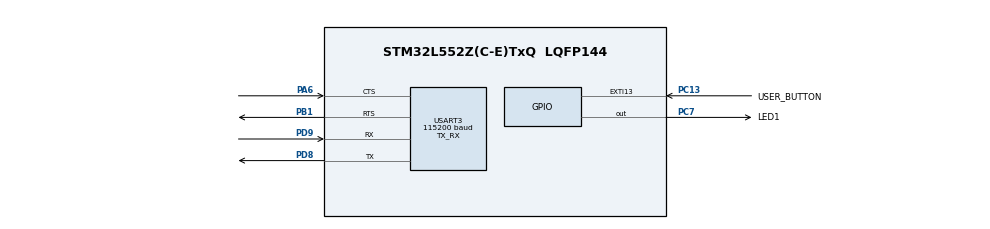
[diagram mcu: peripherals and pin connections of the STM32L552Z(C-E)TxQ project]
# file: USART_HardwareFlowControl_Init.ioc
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Mcu.Family=STM32L5
Mcu.Name=STM32L552Z(C-E)TxQ
Mcu.Package=LQFP144
Mcu.TrustZone=disable
NVIC.EXTI13_IRQn=true\:0\:0\:false\:false\:true\:true\:true\:true
NVIC.PriorityGroup=NVIC_PRIORITYGROUP_3
NVIC.USART3_IRQn=true\:0\:0\:false\:false\:true\:true\:true\:true
PA6.GPIO_PuPd=GPIO_PULLUP
PA6.GPIO_Speed=GPIO_SPEED_FREQ_HIGH
PA6.Mode=CTS_RTS
PA6.Signal=USART3_CTS
PB1.GPIO_PuPd=GPIO_PULLUP
PB1.GPIO_Speed=GPIO_SPEED_FREQ_HIGH
PB1.Mode=CTS_RTS
PB1.Signal=USART3_RTS
PC13.GPIO_Label=USER_BUTTON
PC13.GPIO_ModeDefaultEXTI=GPIO_MODE_IT_FALLING
PC13.Signal=GPXTI13
PC7.GPIO_Label=LED1
PC7.GPIO_PuPd=GPIO_NOPULL
PC7.Signal=GPIO_Output
PD8.GPIO_PuPd=GPIO_PULLUP
PD8.GPIO_Speed=GPIO_SPEED_FREQ_HIGH
PD8.Mode=Asynchronous
PD8.Signal=USART3_TX
PD9.GPIO_PuPd=GPIO_PULLUP
PD9.GPIO_Speed=GPIO_SPEED_FREQ_HIGH
PD9.Mode=Asynchronous
PD9.Signal=USART3_RX
ProjectManager.HeapSize=0x200
ProjectManager.StackSize=0x400
ProjectManager.TargetToolchain=EWARM V8.32
RCC.ADCCLockSelection=RCC_ADCCLKSOURCE_SYSCLK
RCC.ADCFreq_Value=110000000
RCC.AHBFreq_Value=110000000
RCC.APB1Freq_Value=110000000
RCC.APB1TimFreq_Value=110000000
RCC.APB2Freq_Value=110000000
RCC.APB2TimFreq_Value=110000000
RCC.CortexFreq_Value=110000000
RCC.HCLKFreq_Value=110000000
RCC.HSE_VALUE=16000000
RCC.HSI48_VALUE=48000000
RCC.HSI_VALUE=16000000
RCC.LSE_VALUE=32768
RCC.MSI_VALUE=4000000
RCC.PLLN=55
RCC.PLLSAI1N=24
RCC.RTCClockSelection=RCC_RTCCLKSOURCE_LSE
RCC.SYSCLKFreq_VALUE=110000000
RCC.SYSCLKSource=RCC_SYSCLKSOURCE_PLLCLK
RCC.USBFreq_Value=48000000
RCC.VCOOutputFreq_Value=220000000
USART3.AutoBaudRateEnableParam=UART_ADVFEATURE_AUTOBAUDRATE_DISABLE
USART3.BaudRate=115200
USART3.ClockPrescaler=PRESCALER_DIV1
USART3.DMADisableonRxErrorParam=ADVFEATURE_DMA_ENABLEONRXERROR
USART3.DataInvertParam=ADVFEATURE_DATAINV_DISABLE
USART3.FIFOMode=FIFOMODE_DISABLE
USART3.MSBFirstParam=ADVFEATURE_MSBFIRST_DISABLE
USART3.Mode=MODE_TX_RX
USART3.OneBitSampling=UART_ONE_BIT_SAMPLE_DISABLE
USART3.OverSampling=UART_OVERSAMPLING_16
USART3.OverrunDisableParam=ADVFEATURE_OVERRUN_ENABLE
USART3.Parity=PARITY_NONE
USART3.RXFIFOThreshold=RXFIFO_THRESHOLD_1EIGHTHFULL
USART3.RxPinLevelInvertParam=ADVFEATURE_RXINV_DISABLE
USART3.StopBits=STOPBITS_1
USART3.SwapParam=ADVFEATURE_SWAP_DISABLE
USART3.TXFIFOThreshold=TXFIFO_THRESHOLD_1EIGHTHFULL
USART3.TxPinLevelInvertParam=ADVFEATURE_TXINV_DISABLE
USART3.VirtualMode-Asynchronous=VM_ASYNC
USART3.WordLength=WORDLENGTH_8B
VP_ICACHE_VS_ICACHE.Mode=DirectMappedCache
VP_PWR_VS_DBSignals.Mode=DisableDeadBatterySignals
board=custom

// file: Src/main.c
/* USER CODE BEGIN Header */
/**
  ******************************************************************************
  * @file    Examples_LL/USART/USART_HardwareFlowControl_Init/Src/main.c
  * @author  MCD Application Team
  * @brief   This example describes how to transfer bytes from/to an USART peripheral
  *          to/from a PC UART with HW FLow Control enabled,
  *          through the STM32L5xx USART LL API.
  *          Peripheral initialization done using LL unitary services functions.
  ******************************************************************************
  * @attention
  *
  * Copyright (c) 2019 STMicroelectronics.
  * All rights reserved.
  *
  * This software is licensed under terms that can be found in the LICENSE file
  * in the root directory of this software component.
  * If no LICENSE file comes with this software, it is provided AS-IS.
  *
  ******************************************************************************
  */
/* USER CODE END Header */
#include "main.h"

/* USER CODE BEGIN Includes */
/** @addtogroup STM32L5xx_LL_Examples
  * @{
  */

/** @addtogroup USART_HardwareFlowControl_Init
  * @{
  */
/* USER CODE END Includes */

/* USER CODE BEGIN PV */
__IO uint8_t ubButtonPress = 0;

/**
  * @brief Variables used for character transmission to PC Com port
  */
__IO uint8_t ubSend = 0;
const uint8_t aStringToSend[] = "STM32L5xx USART LL API Example : TX/RX in IT mode\r\nConfiguration UART 115200 bps, 8 data bit/1 stop bit/No parity/HW flow control enabled.\r\nEnter any character (S or s will end program).\r\n";
uint8_t ubSizeToSend = sizeof(aStringToSend);

/**
  * @brief Variables used for character reception from PC Com port
  */
__IO uint8_t      ubFinalCharReceived = 0;
__IO uint32_t     ubReceivedChar;

/* USER CODE END PV */

void SystemClock_Config(void);
static void MX_GPIO_Init(void);
static void MX_ICACHE_Init(void);
static void MX_USART3_UART_Init(void);
/* USER CODE BEGIN PFP */
void     StartTransfers(void);
void     LED_On(void);
void     LED_Blinking(uint32_t Period);
void     LED_Off(void);
void     WaitForUserButtonPress(void);
void     WaitAndCheckEndOfTransfer(void);
/* USER CODE END PFP */

/* USER CODE BEGIN 0 */
/**
  * @brief  Main program
  * @param  None
  * @retval None
  */
/* USER CODE END 0 */

int main(void)
{

  /* MCU Configuration--------------------------------------------------------*/

  /* Reset of all peripherals, Initializes the Flash interface and the Systick. */
  LL_APB2_GRP1_EnableClock(LL_APB2_GRP1_PERIPH_SYSCFG);
  LL_APB1_GRP1_EnableClock(LL_APB1_GRP1_PERIPH_PWR);

  /* System interrupt init*/
  NVIC_SetPriorityGrouping(NVIC_PRIORITYGROUP_3);

  /** Disable the internal Pull-Up in Dead Battery pins of UCPD peripheral
  */
  LL_PWR_DisableUCPDDeadBattery();

  /* Configure the system clock */
  SystemClock_Config();

  /* Initialize all configured peripherals */
  MX_GPIO_Init();
  MX_ICACHE_Init();
  MX_USART3_UART_Init();
  /* USER CODE BEGIN 2 */
  /* Set LED1 Off */
  LED_Off();

  /* Wait for User push-button press to start transfer */
  WaitForUserButtonPress();

  /* Initiate DMA transfers */
  StartTransfers();

  /* Wait for the end of the transfer and check received data */
  WaitAndCheckEndOfTransfer();

  /* USER CODE END 2 */

  /* Infinite loop */
  while (1)
  {

  }
}

void SystemClock_Config(void)
{
  LL_FLASH_SetLatency(LL_FLASH_LATENCY_5);
  while(LL_FLASH_GetLatency()!= LL_FLASH_LATENCY_5)
  {
  }

  LL_PWR_SetRegulVoltageScaling(LL_PWR_REGU_VOLTAGE_SCALE0);
  LL_RCC_MSI_Enable();

   /* Wait till MSI is ready */
  while(LL_RCC_MSI_IsReady() != 1)
  {
  }

  LL_RCC_MSI_EnableRangeSelection();
  LL_RCC_MSI_SetRange(LL_RCC_MSIRANGE_6);
  LL_RCC_MSI_SetCalibTrimming(0);
  LL_RCC_PLL_ConfigDomain_SYS(LL_RCC_PLLSOURCE_MSI, LL_RCC_PLLM_DIV_1, 55, LL_RCC_PLLR_DIV_2);
  LL_RCC_PLL_EnableDomain_SYS();
  LL_RCC_PLL_Enable();

   /* Wait till PLL is ready */
  while(LL_RCC_PLL_IsReady() != 1)
  {
  }

   /* Intermediate AHB prescaler 2 when target frequency clock is higher than 80 MHz */
   LL_RCC_SetAHBPrescaler(LL_RCC_SYSCLK_DIV_2);

  LL_RCC_SetSysClkSource(LL_RCC_SYS_CLKSOURCE_PLL);

   /* Wait till System clock is ready */
  while(LL_RCC_GetSysClkSource() != LL_RCC_SYS_CLKSOURCE_STATUS_PLL)
  {
  }

  /* Insure 1us transition state at intermediate medium speed clock*/
  for (__IO uint32_t i = (RCC_MAX_FREQUENCY_MHZ >> 1); i !=0; i--);

  LL_RCC_SetAHBPrescaler(LL_RCC_SYSCLK_DIV_1);
  LL_RCC_SetAPB1Prescaler(LL_RCC_APB1_DIV_1);
  LL_RCC_SetAPB2Prescaler(LL_RCC_APB2_DIV_1);

  LL_Init1msTick(110000000);

  LL_SetSystemCoreClock(110000000);
}

static void MX_ICACHE_Init(void)
{

  /** Enable instruction cache in 1-way (direct mapped cache)
  */
  LL_ICACHE_SetMode(LL_ICACHE_1WAY);
  LL_ICACHE_Enable();

}

static void MX_USART3_UART_Init(void)
{

  LL_USART_InitTypeDef USART_InitStruct = {0};

  LL_GPIO_InitTypeDef GPIO_InitStruct = {0};

  LL_RCC_SetUSARTClockSource(LL_RCC_USART3_CLKSOURCE_PCLK1);

  /* Peripheral clock enable */
  LL_APB1_GRP1_EnableClock(LL_APB1_GRP1_PERIPH_USART3);

  LL_AHB2_GRP1_EnableClock(LL_AHB2_GRP1_PERIPH_GPIOA);
  LL_AHB2_GRP1_EnableClock(LL_AHB2_GRP1_PERIPH_GPIOB);
  LL_AHB2_GRP1_EnableClock(LL_AHB2_GRP1_PERIPH_GPIOD);
  /**USART3 GPIO Configuration
  PA6   ------> USART3_CTS
  PB1   ------> USART3_RTS
  PD8   ------> USART3_TX
  PD9   ------> USART3_RX
  */
  GPIO_InitStruct.Pin = LL_GPIO_PIN_6;
  GPIO_InitStruct.Mode = LL_GPIO_MODE_ALTERNATE;
  GPIO_InitStruct.Speed = LL_GPIO_SPEED_FREQ_HIGH;
  GPIO_InitStruct.OutputType = LL_GPIO_OUTPUT_PUSHPULL;
  GPIO_InitStruct.Pull = LL_GPIO_PULL_UP;
  GPIO_InitStruct.Alternate = LL_GPIO_AF_7;
  LL_GPIO_Init(GPIOA, &GPIO_InitStruct);

  GPIO_InitStruct.Pin = LL_GPIO_PIN_1;
  GPIO_InitStruct.Mode = LL_GPIO_MODE_ALTERNATE;
  GPIO_InitStruct.Speed = LL_GPIO_SPEED_FREQ_HIGH;
  GPIO_InitStruct.OutputType = LL_GPIO_OUTPUT_PUSHPULL;
  GPIO_InitStruct.Pull = LL_GPIO_PULL_UP;
  GPIO_InitStruct.Alternate = LL_GPIO_AF_7;
  LL_GPIO_Init(GPIOB, &GPIO_InitStruct);

  GPIO_InitStruct.Pin = LL_GPIO_PIN_8|LL_GPIO_PIN_9;
  GPIO_InitStruct.Mode = LL_GPIO_MODE_ALTERNATE;
  GPIO_InitStruct.Speed = LL_GPIO_SPEED_FREQ_HIGH;
  GPIO_InitStruct.OutputType = LL_GPIO_OUTPUT_PUSHPULL;
  GPIO_InitStruct.Pull = LL_GPIO_PULL_UP;
  GPIO_InitStruct.Alternate = LL_GPIO_AF_7;
  LL_GPIO_Init(GPIOD, &GPIO_InitStruct);

  /* USART3 interrupt Init */
  NVIC_SetPriority(USART3_IRQn, NVIC_EncodePriority(NVIC_GetPriorityGrouping(),0, 0));
  NVIC_EnableIRQ(USART3_IRQn);

  USART_InitStruct.PrescalerValue = LL_USART_PRESCALER_DIV1;
  USART_InitStruct.BaudRate = 115200;
  USART_InitStruct.DataWidth = LL_USART_DATAWIDTH_8B;
  USART_InitStruct.StopBits = LL_USART_STOPBITS_1;
  USART_InitStruct.Parity = LL_USART_PARITY_NONE;
  USART_InitStruct.TransferDirection = LL_USART_DIRECTION_TX_RX;
  USART_InitStruct.HardwareFlowControl = LL_USART_HWCONTROL_RTS_CTS;
  USART_InitStruct.OverSampling = LL_USART_OVERSAMPLING_16;
  LL_USART_Init(USART3, &USART_InitStruct);
  LL_USART_SetTXFIFOThreshold(USART3, LL_USART_FIFOTHRESHOLD_1_8);
  LL_USART_SetRXFIFOThreshold(USART3, LL_USART_FIFOTHRESHOLD_1_8);
  LL_USART_DisableFIFO(USART3);
  LL_USART_ConfigAsyncMode(USART3);
  LL_USART_Enable(USART3);
  /* USER CODE BEGIN USART3_Init 2 */
  /* Polling USART initialisation */
  while ((!(LL_USART_IsActiveFlag_TEACK(USARTx_INSTANCE))) || (!(LL_USART_IsActiveFlag_REACK(USARTx_INSTANCE))))
  {
  }
  /* Enable RXNE and Error interrupts */
  LL_USART_EnableIT_RXNE(USARTx_INSTANCE);
  LL_USART_EnableIT_ERROR(USARTx_INSTANCE);

  /* USER CODE END USART3_Init 2 */

}

static void MX_GPIO_Init(void)
{
  LL_EXTI_InitTypeDef EXTI_InitStruct = {0};
  LL_GPIO_InitTypeDef GPIO_InitStruct = {0};

  /* GPIO Ports Clock Enable */
  LL_AHB2_GRP1_EnableClock(LL_AHB2_GRP1_PERIPH_GPIOC);
  LL_AHB2_GRP1_EnableClock(LL_AHB2_GRP1_PERIPH_GPIOA);
  LL_AHB2_GRP1_EnableClock(LL_AHB2_GRP1_PERIPH_GPIOB);
  LL_AHB2_GRP1_EnableClock(LL_AHB2_GRP1_PERIPH_GPIOD);

  /**/
  LL_GPIO_ResetOutputPin(LED1_GPIO_Port, LED1_Pin);

  /**/
  LL_EXTI_SetEXTISource(LL_EXTI_EXTI_PORTC, LL_EXTI_EXTI_LINE13);

  /**/
  EXTI_InitStruct.Line_0_31 = LL_EXTI_LINE_13;
  EXTI_InitStruct.Line_32_63 = LL_EXTI_LINE_NONE;
  EXTI_InitStruct.LineCommand = ENABLE;
  EXTI_InitStruct.Mode = LL_EXTI_MODE_IT;
  EXTI_InitStruct.Trigger = LL_EXTI_TRIGGER_FALLING;
  LL_EXTI_Init(&EXTI_InitStruct);

  /**/
  LL_GPIO_SetPinPull(USER_BUTTON_GPIO_Port, USER_BUTTON_Pin, LL_GPIO_PULL_NO);

  /**/
  LL_GPIO_SetPinMode(USER_BUTTON_GPIO_Port, USER_BUTTON_Pin, LL_GPIO_MODE_INPUT);

  /**/
  GPIO_InitStruct.Pin = LED1_Pin;
  GPIO_InitStruct.Mode = LL_GPIO_MODE_OUTPUT;
  GPIO_InitStruct.Speed = LL_GPIO_SPEED_FREQ_LOW;
  GPIO_InitStruct.OutputType = LL_GPIO_OUTPUT_PUSHPULL;
  GPIO_InitStruct.Pull = LL_GPIO_PULL_NO;
  LL_GPIO_Init(LED1_GPIO_Port, &GPIO_InitStruct);

  /* EXTI interrupt init*/
  NVIC_SetPriority(EXTI13_IRQn, NVIC_EncodePriority(NVIC_GetPriorityGrouping(),0, 0));
  NVIC_EnableIRQ(EXTI13_IRQn);

}

/* USER CODE BEGIN 4 */
/**
  * @brief  This function initiates TX transfer
  * @param  None
  * @retval None
  */
void StartTransfers(void)
{
  /* Start transfer only if not already ongoing */
  if (ubSend == 0)
  {
    /* Start USART transmission : Will initiate TXE interrupt after TDR register is empty */
    LL_USART_TransmitData8(USARTx_INSTANCE, aStringToSend[ubSend++]);

    /* Enable TXE interrupt */
    LL_USART_EnableIT_TXE(USARTx_INSTANCE);
  }
}

/**
  * @brief  Turn-on LED1.
  * @param  None
  * @retval None
  */
void LED_On(void)
{
  /* Turn LED1 on */
  LL_GPIO_SetOutputPin(LED1_GPIO_Port, LED1_Pin);
}

/**
  * @brief  Turn-off LED1.
  * @param  None
  * @retval None
  */
void LED_Off(void)
{
  /* Turn LED1 off */
  LL_GPIO_ResetOutputPin(LED1_GPIO_Port, LED1_Pin);
}

/**
  * @brief  Set LED1 to Blinking mode for an infinite loop (toggle period based on value provided as input parameter).
  * @param  Period : Period of time (in ms) between each toggling of LED
  *   This parameter can be user defined values. Pre-defined values used in that example are :
  *     @arg LED_BLINK_FAST : Fast Blinking
  *     @arg LED_BLINK_SLOW : Slow Blinking
  *     @arg LED_BLINK_ERROR : Error specific Blinking
  * @retval None
  */
void LED_Blinking(uint32_t Period)
{
  /* Toggle LED1 in an infinite loop */
  while (1)
  {
    LL_GPIO_TogglePin(LED1_GPIO_Port, LED1_Pin);
    LL_mDelay(Period);
  }
}
/**
  * @brief  Wait for User push-button press to start transfer.
  * @param  None
  * @retval None
  */
/*  */
void WaitForUserButtonPress(void)
{
  while (ubButtonPress == 0)
  {
    LL_GPIO_TogglePin(LED1_GPIO_Port, LED1_Pin);
    LL_mDelay(LED_BLINK_FAST);
  }
  /* Ensure that LED1 is turned Off */
  LED_Off();
}

/**
  * @brief  Wait end of transfer and check if received Data are well.
  * @param  None
  * @retval None
  */
void WaitAndCheckEndOfTransfer(void)
{
  /* Wait end of reception from USART3 */
  while (ubFinalCharReceived != 1)
  {
  }

  /* Turn On Led indicating final character has been received */
  LED_On();
}

/******************************************************************************/
/*   USER IRQ HANDLER TREATMENT Functions                                     */
/******************************************************************************/
/**
  * @brief  Function to manage User push-button
  * @param  None
  * @retval None
  */
void UserButton_Callback(void)
{
  /* Update User push-button variable : to be checked in waiting loop in main program */
  ubButtonPress = 1;
}

/**
  * @brief  Function called for achieving next TX Byte sending
  * @param  None
  * @retval None
  */
void USART_TXEmpty_Callback(void)
{
  if (ubSend == (ubSizeToSend - 1))
  {
    /* Disable TXE interrupt */
    LL_USART_DisableIT_TXE(USARTx_INSTANCE);

    /* Enable TC interrupt */
    LL_USART_EnableIT_TC(USARTx_INSTANCE);
  }

  /* Fill TDR with a new char */
  LL_USART_TransmitData8(USARTx_INSTANCE, aStringToSend[ubSend++]);
}

/**
  * @brief  Function called at completion of last byte transmission
  * @param  None
  * @retval None
  */
void USART_CharTransmitComplete_Callback(void)
{
  if (ubSend == sizeof(aStringToSend))
  {
    ubSend = 0;

    /* Disable TC interrupt */
    LL_USART_DisableIT_TC(USARTx_INSTANCE);
  }
}

/**
  * @brief  Function called from USART IRQ Handler when RXNE flag is set
  *         Function is in charge of reading character received on USART RX line.
  * @param  None
  * @retval None
  */
void USART_CharReception_Callback(void)
{
  __IO uint32_t received_char;

  /* Read Received character. RXNE flag is cleared by reading of RDR register */
  received_char = LL_USART_ReceiveData8(USARTx_INSTANCE);

  /* Check if received value is corresponding to specific one : S or s */
  if ((received_char == 'S') || (received_char == 's'))
  {
    ubFinalCharReceived = 1;

    /* Disable RXNE interrupt */
    LL_USART_DisableIT_RXNE(USARTx_INSTANCE);
  }

  /* Echo received character on TX */
  LL_USART_TransmitData8(USARTx_INSTANCE, received_char);
}

/**
  * @brief  Function called in case of error detected in USART IT Handler
  * @param  None
  * @retval None
  */
void Error_Callback(void)
{
  __IO uint32_t isr_reg;

  /* Disable USARTx_IRQn */
  NVIC_DisableIRQ(USARTx_IRQn);

  /* Error handling example :
    - Read USART ISR register to identify flag that leads to IT raising
    - Perform corresponding error handling treatment according to flag
  */
  isr_reg = LL_USART_ReadReg(USARTx_INSTANCE, ISR);
  if (isr_reg & LL_USART_ISR_NE)
  {
    /* case Noise Error flag is raised : Clear NF Flag */
    LL_USART_ClearFlag_NE(USARTx_INSTANCE);
  }
  else
  {
    /* Unexpected IT source : Set LED to Blinking mode to indicate error occurs */
    LED_Blinking(LED_BLINK_ERROR);
  }
}

/* USER CODE END 4 */

void Error_Handler(void)
{
  while(1)
  {
  }
}

#ifdef  USE_FULL_ASSERT
/**
  * @brief  Reports the name of the source file and the source line number
  *         where the assert_param error has occurred.
  * @param  file: pointer to the source file name
  * @param  line: assert_param error line source number
  * @retval None
  */
void assert_failed(uint8_t *file, uint32_t line)
{
  /* USER CODE BEGIN 6 */
  /* User can add his own implementation to report the file name and line number,
     ex: printf("Wrong parameters value: file %s on line %d\r\n", file, line) */
  /* Infinite loop */
  while (1)
  {}
  /* USER CODE END 6 */
}
#endif /* USE_FULL_ASSERT */
